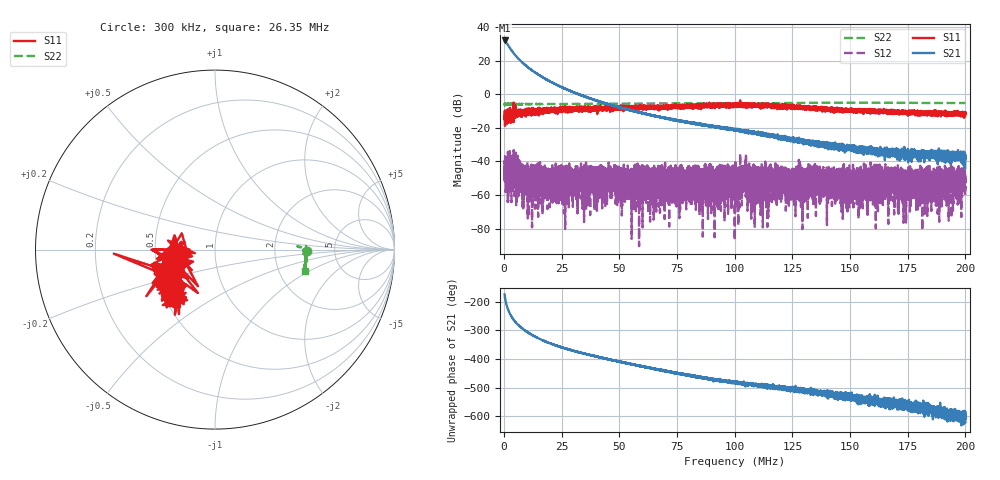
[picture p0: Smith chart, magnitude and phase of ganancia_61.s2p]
# Hz S DB R 50
! CMT, M5065, 19127446, 24.2.4/2
! Date: 11/8/2024 5:36:25 PM
! Data: Format (Calibration Info)
! Freq	S11:dB/Ang(F2)	S21:dB/Ang(F2)	S12:dB/Ang(F2)	S22:dB/Ang(F2)
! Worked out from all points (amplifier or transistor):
!   9000 points, 300 kHz to 200 MHz, reference 50 ohm
!   highest |S21| = 32.0 dB at 388.8 kHz (marker M1)
!   |S21| within 3 dB of that: start of sweep to 1.878 MHz
!   unconditionally stable (mu >= 1): 815.4 kHz to 1.736 MHz; 1.748 MHz to 2.515 MHz; 2.523 MHz to end of sweep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
!   at 33.59 MHz: K = 104.37, MAG = 1.7 dB, |S12| = -50.3 dB
!   at 100.2 MHz: K = 1443.03, MAG = -18.4 dB, |S12| = -53.2 dB
!   at 200 MHz: K = 6304.64, MAG = -35.3 dB, |S12| = -48.5 dB
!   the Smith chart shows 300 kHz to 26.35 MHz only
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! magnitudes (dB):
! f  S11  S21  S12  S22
! 300 kHz  -14.6  31.6  -51.2  -5.8
! 388.8 kHz  -12.1  32.0  -51.8  -6.8
! 1.787 MHz  -13.4  29.2  -46.6  -6.0
! 12.82 MHz  -9.5  13.6  -62.0  -5.8
! 26.77 MHz  -9.0  3.1  -53.2  -5.8
! 33.59 MHz  -7.4  -0.5  -50.3  -5.8
! 66.87 MHz  -8.5  -13.3  -52.0  -5.5
! 82.01 MHz  -7.0  -17.3  -48.5  -5.5
! 89.71 MHz  -6.8  -18.9  -49.2  -5.4
! 91.88 MHz  -6.8  -19.4  -48.5  -5.4
! 94.28 MHz  -5.5  -20.1  -45.7  -5.4
! 100.2 MHz  -6.9  -20.9  -53.2  -5.4
! 104.2 MHz  -6.5  -22.2  -52.6  -5.4
! 106.2 MHz  -5.6  -22.7  -45.5  -5.4
! 133.4 MHz  -7.9  -28.8  -46.0  -5.1
! 152.5 MHz  -10.5  -33.0  -47.7  -5.1
! 157.9 MHz  -10.4  -34.1  -55.5  -5.1
! 166.7 MHz  -10.4  -35.9  -49.7  -5.1
! 179 MHz  -11.4  -34.7  -52.1  -5.2
! 182.5 MHz  -10.9  -34.6  -48.3  -5.2
! 188 MHz  -10.7  -37.7  -46.3  -5.2
! 200 MHz  -11.4  -37.2  -48.5  -5.3
